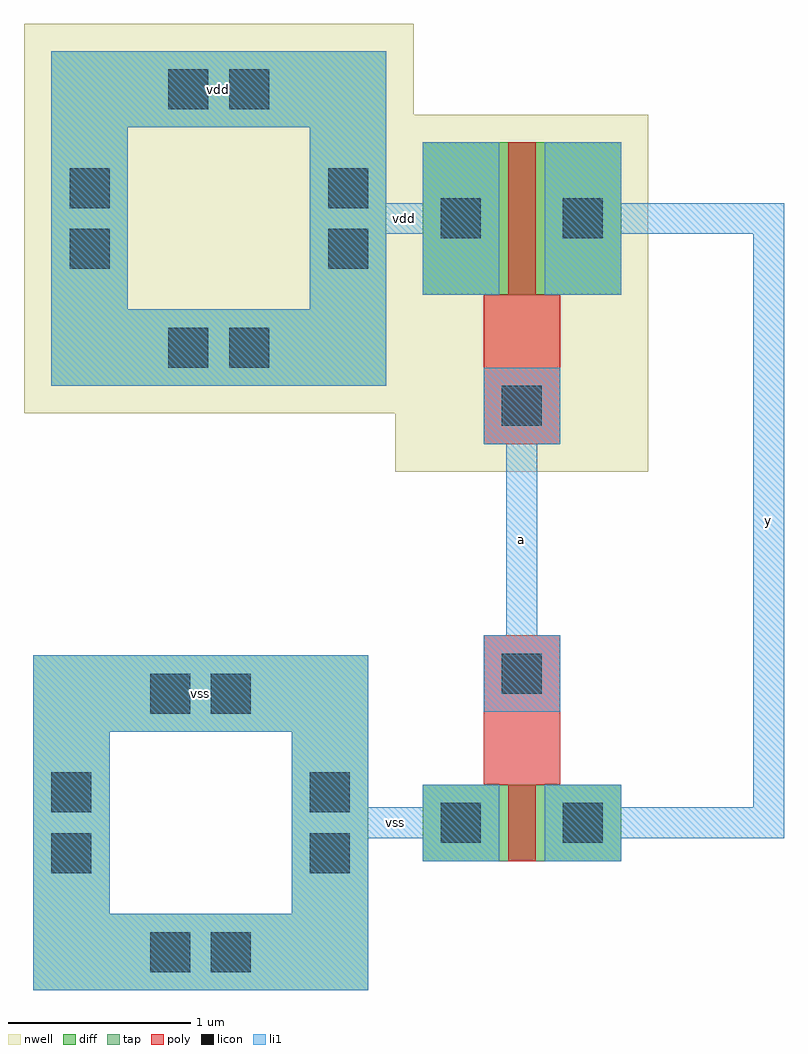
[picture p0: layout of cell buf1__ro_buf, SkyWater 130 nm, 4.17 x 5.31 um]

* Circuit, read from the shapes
.subckt buf1__ro_buf a vdd vss y
XM1 y a vss vss sky130_fd_pr__nfet_01v8 w=0.42 l=0.15
XM2 y a vdd vdd sky130_fd_pr__pfet_01v8 w=0.84 l=0.15
.ends

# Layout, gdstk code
import gdstk
lib = gdstk.Library(unit=1e-6, precision=1e-09)
def R(c, l, rs):  # rectangles x0, y0, x1, y1
    for r in rs: c.add(gdstk.rectangle(r[:2], r[2:], *l))
def P(c, l, *ps):  # polygons
    for p in ps: c.add(gdstk.Polygon(p, *l))
nwell = (64, 20)
diff = (65, 20)
tap = (65, 44)
poly = (66, 20)
licon = (66, 44)
li1 = (67, 20)

mos_array_1_5 = lib.new_cell('mos_array$1$5')
R(mos_array_1_5, nwell, [(-0.15,-0.15,1.24,1.81)])
R(mos_array_1_5, diff, [(0,0,1.09,0.84)])
R(mos_array_1_5, poly, [(0.47,0,0.62,0.84), (0.335,0.84,0.755,1.66)])
R(mos_array_1_5, licon, [(0.1,0.31,0.32,0.53), (0.77,0.31,0.99,0.53), (0.435,1.34,0.655,1.56)])
R(mos_array_1_5, li1, [(0,0,0.42,0.84), (0.67,0,1.09,0.84), (0.335,1.24,0.755,1.66)])

mp__pfet_w0p84_l0p15 = lib.new_cell('mp__pfet_w0p84_l0p15')
mp__pfet_w0p84_l0p15.add(gdstk.Reference(mos_array_1_5, (0,0)))

guard_ring_1_5 = lib.new_cell('guard_ring$1$5')
R(guard_ring_1_5, nwell, [(-0.15,-0.15,1.99,1.99)])
P(guard_ring_1_5, tap, [(0,0),(0,1.42),(0.42,1.42),(0.42,0.42),(1.42,0.42),(1.42,1.42),(0,1.42),(0,1.84),(1.84,1.84),(1.84,0)])
R(guard_ring_1_5, licon, [(0.643,0.1,0.863,0.32), (0.977,0.1,1.197,0.32), (0.1,0.643,0.32,0.863), (1.52,0.643,1.74,0.863), (0.1,0.977,0.32,1.197), (1.52,0.977,1.74,1.197), (0.643,1.52,0.863,1.74), (0.977,1.52,1.197,1.74)])
P(guard_ring_1_5, li1, [(0,0),(0,1.42),(0.42,1.42),(0.42,0.42),(1.42,0.42),(1.42,1.42),(0,1.42),(0,1.84),(1.84,1.84),(1.84,0)])

nwell_tap__nwell_tap_5 = lib.new_cell('nwell_tap__nwell_tap$5')
nwell_tap__nwell_tap_5.add(gdstk.Reference(guard_ring_1_5, (0,0)))

mos_array_9 = lib.new_cell('mos_array$9')
R(mos_array_9, diff, [(0,0,1.09,0.42)])
R(mos_array_9, poly, [(0.47,0,0.62,0.42), (0.335,0.42,0.755,1.24)])
R(mos_array_9, licon, [(0.1,0.1,0.32,0.32), (0.77,0.1,0.99,0.32), (0.435,0.92,0.655,1.14)])
R(mos_array_9, li1, [(0,0,0.42,0.42), (0.67,0,1.09,0.42), (0.335,0.82,0.755,1.24)])

mn__nfet_w0p42_l0p15 = lib.new_cell('mn__nfet_w0p42_l0p15')
mn__nfet_w0p42_l0p15.add(gdstk.Reference(mos_array_9, (0,0)))

guard_ring_6 = lib.new_cell('guard_ring$6')
P(guard_ring_6, tap, [(0,0),(0,1.42),(0.42,1.42),(0.42,0.42),(1.42,0.42),(1.42,1.42),(0,1.42),(0,1.84),(1.84,1.84),(1.84,0)])
R(guard_ring_6, licon, [(0.643,0.1,0.863,0.32), (0.977,0.1,1.197,0.32), (0.1,0.643,0.32,0.863), (1.52,0.643,1.74,0.863), (0.1,0.977,0.32,1.197), (1.52,0.977,1.74,1.197), (0.643,1.52,0.863,1.74), (0.977,1.52,1.197,1.74)])
P(guard_ring_6, li1, [(0,0),(0,1.42),(0.42,1.42),(0.42,0.42),(1.42,0.42),(1.42,1.42),(0,1.42),(0,1.84),(1.84,1.84),(1.84,0)])

psub_tap__psub_tap_5 = lib.new_cell('psub_tap__psub_tap$5')
psub_tap__psub_tap_5.add(gdstk.Reference(guard_ring_6, (0,0)))

buf1__ro_buf = lib.new_cell('buf1__ro_buf')
R(buf1__ro_buf, li1, [(0.335,1.03,0.755,1.2), (0.335,2.33,0.755,2.5)])
buf1__ro_buf.add(gdstk.FlexPath([(0.545,2.5),(0.545,1.03)], 0.17, ends="flush", simple_path=True, layer=67, datatype=20))  # li1
buf1__ro_buf.add(gdstk.FlexPath([(0.88,3.53),(1.9,3.53),(1.9,0.21),(0.88,0.21)], 0.17, ends="flush", simple_path=True, layer=67, datatype=20))  # li1
buf1__ro_buf.add(gdstk.FlexPath([(0.21,3.53),(-0.41,3.53)], 0.17, ends="flush", simple_path=True, layer=67, datatype=20))  # li1
buf1__ro_buf.add(gdstk.FlexPath([(0.21,0.21),(-0.51,0.21)], 0.17, ends="flush", simple_path=True, layer=67, datatype=20))  # li1
buf1__ro_buf.add(gdstk.Reference(mp__pfet_w0p84_l0p15, (0,3.95), x_reflection=True))
buf1__ro_buf.add(gdstk.Reference(nwell_tap__nwell_tap_5, (-2.04,2.61)))
buf1__ro_buf.add(gdstk.Reference(mn__nfet_w0p42_l0p15, (0,0)))
buf1__ro_buf.add(gdstk.Reference(psub_tap__psub_tap_5, (-2.14,-0.71)))
buf1__ro_buf.add(gdstk.Label('a', (0.545,1.765), layer=67, texttype=5))
buf1__ro_buf.add(gdstk.Label('y', (1.9,1.87), layer=67, texttype=5))
buf1__ro_buf.add(gdstk.Label('vdd', (-0.1,3.53), layer=67, texttype=5))
buf1__ro_buf.add(gdstk.Label('vss', (-0.15,0.21), layer=67, texttype=5))
buf1__ro_buf.add(gdstk.Label('vdd', (-1.12,4.24), layer=67, texttype=5))
buf1__ro_buf.add(gdstk.Label('vss', (-1.22,0.92), layer=67, texttype=5))

lib.write_gds('buf1__ro_buf.gds')
